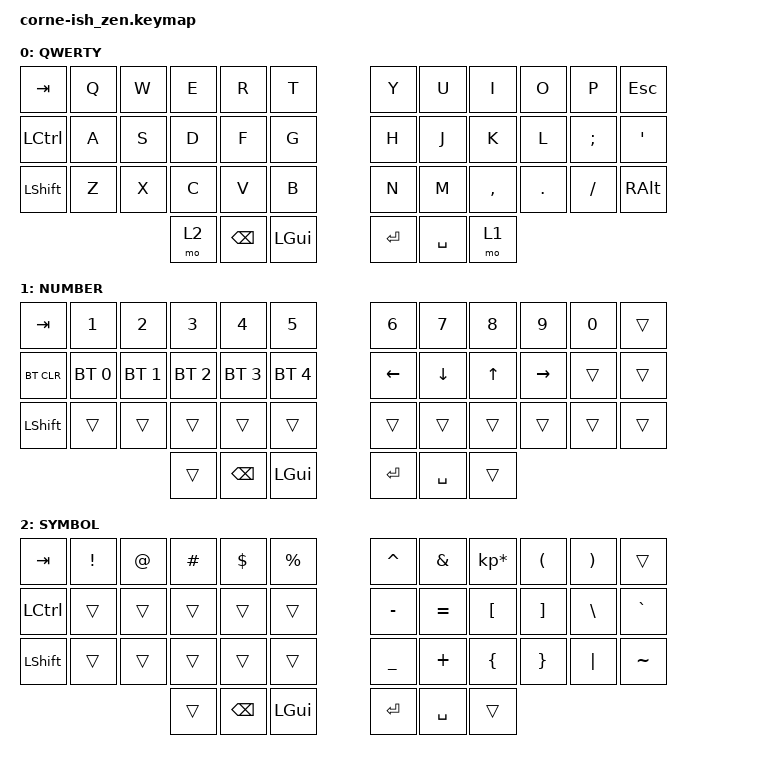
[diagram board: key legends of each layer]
/*
*
* Copyright (c) 2021 Darryl deHaan
* SPDX-License-Identifier: MIT
*
*/

#include <behaviors.dtsi>
#include <dt-bindings/zmk/keys.h>
#include <dt-bindings/zmk/bt.h>

/ {
        keymap {
                compatible = "zmk,keymap";

                default_layer {
                        label = "QWERTY";
// -----------------------------------------------------------------------------------------
// |  TAB |  Q  |  W  |  E  |  R  |  T  |   |  Y  |  U   |  I  |  O  |  P  | ESC |
// | CTRL |  A  |  S  |  D  |  F  |  G  |   |  H  |  J   |  K  |  L  |  ;  |  '   |
// | SHFT |  Z  |  X  |  C  |  V  |  B  |   |  N  |  M   |  ,  |  .  |  /  | ALT  |
//                    | RSE | BKSP | GUI |  | ENT | SPC  | LWR |
                        bindings = <
   &kp TAB   &kp Q &kp W &kp E &kp R &kp T   &kp Y &kp U  &kp I     &kp O   &kp P    &kp ESC
   &kp LCTRL &kp A &kp S &kp D &kp F &kp G   &kp H &kp J  &kp K     &kp L   &kp SEMI &kp SQT
   &kp LSHFT &kp Z &kp X &kp C &kp V &kp B   &kp N &kp M  &kp COMMA &kp DOT &kp FSLH &kp RALT
                   &mo 2 &kp BSPC &kp LGUI   &kp RET &kp SPACE &mo 1
                        >;
                };
                lower_layer {
                        label = "NUMBER";
// -----------------------------------------------------------------------------------------
// |  TAB |  1  |  2  |  3  |  4  |  5  |   |  6  |  7  |  8  |  9  |  0  |      |
// | BTCLR| BT1 | BT2 | BT3 | BT4 | BT5 |   | LFT | DWN |  UP | RGT |     |      |
// | SHFT |     |     |     |     |     |   |     |     |     |     |     |      |
//                    |     | BKSP | GUI |   | ENT | SPC |    |
                        bindings = <
   &kp TAB    &kp N1       &kp N2       &kp N3       &kp N4       &kp N5         &kp N6   &kp N7   &kp N8 &kp N9    &kp N0 &trans
   &bt BT_CLR &bt BT_SEL 0 &bt BT_SEL 1 &bt BT_SEL 2 &bt BT_SEL 3 &bt BT_SEL 4   &kp LEFT &kp DOWN &kp UP &kp RIGHT &trans &trans
   &kp LSHFT  &trans       &trans       &trans       &trans       &trans         &trans   &trans   &trans &trans    &trans &trans
                   &trans &kp BSPC &kp LGUI   &kp RET &kp SPACE &trans
                        >;
                };

                raise_layer {
                        label = "SYMBOL";
// -----------------------------------------------------------------------------------------
// |  TAB |  !  |  @  |  #  |  $  |  %  |   |  ^  |  &  |  *  |  (  |  )  |      |
// | CTRL |     |     |     |     |     |   |  -  |  =  |  [  |  ]  |  \  |  `   |
// | SHFT |     |     |     |     |     |   |  _  |  +  |  {  |  }  | "|" |  ~   |
//                    |     | BKSP | GUI |   | ENT | SPC |    |
                        bindings = <
   &kp  TAB  &kp EXCL &kp AT &kp HASH &kp DLLR &kp PRCNT   &kp CARET &kp AMPS  &kp KP_MULTIPLY &kp LPAR &kp RPAR &trans
   &kp LCTRL &trans   &trans &trans   &trans   &trans      &kp MINUS &kp EQUAL &kp LBKT        &kp RBKT &kp BSLH &kp GRAVE
   &kp LSHFT &trans   &trans &trans   &trans   &trans      &kp UNDER &kp PLUS  &kp LBRC        &kp RBRC &kp PIPE &kp TILDE
                   &trans &kp BSPC &kp LGUI   &kp RET &kp SPACE &trans
                        >;
                };
        };
};
